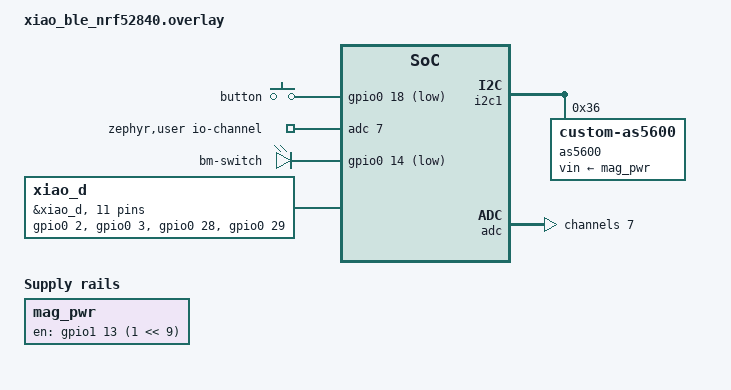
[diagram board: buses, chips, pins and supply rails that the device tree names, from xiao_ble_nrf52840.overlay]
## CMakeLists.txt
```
#
# Copyright (c) 2019 Nordic Semiconductor ASA
#
# SPDX-License-Identifier: LicenseRef-Nordic-5-Clause
#
cmake_minimum_required(VERSION 3.20.0)

list(APPEND EXTRA_ZEPHYR_MODULES 
    ${CMAKE_CURRENT_SOURCE_DIR}/modules
) 

find_package(Zephyr REQUIRED HINTS $ENV{ZEPHYR_BASE})
project(scroll)


FILE(GLOB app_sources src/*.c)
target_include_directories(app PRIVATE inc)
# NORDIC SDK APP START
target_sources(app PRIVATE ${app_sources})
# NORDIC SDK APP END
```

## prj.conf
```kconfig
#
# Copyright (c) 2019 Nordic Semiconductor ASA
#
# SPDX-License-Identifier: LicenseRef-Nordic-5-Clause
#
CONFIG_NCS_SAMPLES_DEFAULTS=y

CONFIG_BT=y
#CONFIG_BT_MAX_CONN=1
#CONFIG_BT_MAX_PAIRED=2
CONFIG_BT_ATT_TX_COUNT=5
CONFIG_BT_PERIPHERAL=y
CONFIG_BT_DEVICE_NAME="BLE Scroll Wheel"
CONFIG_BT_DEVICE_APPEARANCE=962

CONFIG_BT_BAS=y
CONFIG_BT_HIDS=y
CONFIG_BT_HIDS_DEFAULT_PERM_RW_ENCRYPT=y
CONFIG_BT_GATT_UUID16_POOL_SIZE=40
CONFIG_BT_GATT_CHRC_POOL_SIZE=20

CONFIG_BT_CONN_CTX=y

CONFIG_BT_DIS=y
CONFIG_BT_DIS_PNP=y
CONFIG_BT_DIS_MANUF="KAA"
CONFIG_BT_DIS_PNP_VID_SRC=2
CONFIG_BT_DIS_PNP_VID=0x1915
CONFIG_BT_DIS_PNP_PID=0xEEEE
CONFIG_BT_DIS_PNP_VER=0x0100

CONFIG_MAIN_STACK_SIZE=1536
CONFIG_SYSTEM_WORKQUEUE_STACK_SIZE=2048

CONFIG_DK_LIBRARY=y
CONFIG_GPIO_AS_PINRESET=n
CONFIG_SENSOR=y
CONFIG_CUSTOM_AS5600=y
CONFIG_REGULATOR=y

CONFIG_ADC=y
CONFIG_FPU=y
# CONFIG_BT_PERIPHERAL_PREF_MIN_INT=100
# CONFIG_BT_PERIPHERAL_PREF_MAX_INT=120
# CONFIG_BT_PERIPHERAL_PREF_TIMEOUT=200
# CONFIG_BT_PERIPHERAL_PREF_LATENCY=2
```

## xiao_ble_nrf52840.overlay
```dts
// To get started, press Ctrl+Space to bring up the completion menu and view the available nodes.

// You can also use the buttons in the sidebar to perform actions on nodes.
// Actions currently available include:

// * Enabling / disabling the node
// * Adding the bus to a bus
// * Removing the node
// * Connecting ADC channels

// For more help, browse the DeviceTree documentation at https://docs.zephyrproject.org/latest/guides/dts/index.html
// You can also visit the nRF DeviceTree extension documentation at https://docs.nordicsemi.com/bundle/nrf-connect-vscode/page/guides/ncs_configure_app.html#devicetree-support-in-the-extension

/ {
	buttons {
		compatible = "gpio-keys";
		button {
			label = "button";
			gpios = <&gpio0 18 GPIO_ACTIVE_LOW>;
		};
	};

	mag_pwr: mag-pwr-ctrl {
		compatible = "regulator-fixed";
		label = "mag-pwr-ctrl";
		regulator-name = "mag-pwr-ctrl";
		enable-gpios = <&gpio1 13 (1 << 9)>;
		regulator-boot-on;
		startup-delay-us = <1000>;
	};

	zephyr,user {
		io-channels = <&adc 7>;
	};

	gpios {
		compatible = "gpio-leds";
		bmswitch: bm_switch {
			label = "bm-switch";
			gpios = <&gpio0 14 (GPIO_ACTIVE_LOW | GPIO_OPEN_DRAIN)>;
		};
	};
};

&i2c1 {
	as5600@36 {
		compatible = "zephyr,custom-as5600";
		reg = <0x36>;
		status = "okay";
		vin-supply = <&mag_pwr>;
	};
};

&uicr {
	/delete-property/ gpio-as-nreset;
};


&xiao_d {
	gpio-map = <0 0 &gpio0 2 0>,
			   <1 0 &gpio0 3 0>,
			   <2 0 &gpio0 28 0>,
			   <3 0 &gpio0 29 0>,
			   <4 0 &gpio0 4 0>,
			   <5 0 &gpio0 5 0>,
			   <6 0 &gpio1 11 0>,
			   <7 0 &gpio1 12 0>,
			   <8 0 &gpio1 13 0>,
			   <9 0 &gpio1 14 0>,
			   <10 0 &gpio1 15 0>;
};

&adc {
	#io-channel-cells = <1>;
	#address-cells = <1>;
	#size-cells = <0>;
	status = "okay";
	channel@7 {
		reg = <7>;
		zephyr,gain = "ADC_GAIN_1_6";
		zephyr,reference = "ADC_REF_INTERNAL";
		zephyr,acquisition-time = <ADC_ACQ_TIME_DEFAULT>;
		zephyr,input-positive = <NRF_SAADC_AIN7>;
		zephyr,resolution = <12>;
	};
};

&spi2 {
	status = "disabled";
};

&uart0 {
	status = "disabled";
};
```

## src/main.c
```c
#include <zephyr/types.h>
#include <stddef.h>
#include <string.h>
#include <errno.h>
#include <zephyr/sys/printk.h>
#include <zephyr/sys/byteorder.h>
#include <zephyr/kernel.h>
#include <zephyr/drivers/gpio.h>
#include <zephyr/drivers/adc.h>
#include <soc.h>
#include <assert.h>

#include <zephyr/settings/settings.h>

#include <zephyr/bluetooth/bluetooth.h>
#include <zephyr/bluetooth/hci.h>
#include <zephyr/bluetooth/conn.h>
#include <zephyr/bluetooth/uuid.h>
#include <zephyr/bluetooth/gatt.h>

#include <zephyr/bluetooth/services/bas.h>
#include <bluetooth/services/hids.h>
#include <zephyr/bluetooth/services/dis.h>
#include <dk_buttons_and_leds.h>
#include <zephyr/logging/log.h>

#include "pairing.h"
#include "scroll.h"

LOG_MODULE_REGISTER(Scroll, LOG_LEVEL_DBG);

#define BASE_USB_HID_SPEC_VERSION   0x0101

#define INPUT_REP_WHEEL_BTN_LEN 4
#define INPUT_REP_WHEEL_BTN_ID  1
#define INPUT_REP_WHEEL_BTN_INDEX 0
#define WHEEL_BYTE_INDEX 3

#define FEATURE_REP_RES_LEN 1
#define FEATURE_REP_RES_ID 2
#define FEATURE_REP_RES_INDEX 0


/* HIDs queue size. */
#define HIDS_QUEUE_SIZE 50

/* HIDS instance. */
BT_HIDS_DEF(hids_obj,
	    INPUT_REP_WHEEL_BTN_LEN, FEATURE_REP_RES_LEN);

struct k_work hids_work;

K_MSGQ_DEFINE(scroll_queue,
	      sizeof(int8_t),
	      HIDS_QUEUE_SIZE,
	      4);

static const struct adc_dt_spec bat_adc_channel = ADC_DT_SPEC_GET(DT_PATH(zephyr_user));
int16_t bat_adc_buf;
struct adc_sequence sequence = {
	.buffer = &bat_adc_buf,
	/* buffer size in bytes, not number of samples */
	.buffer_size = sizeof(bat_adc_buf),
	//Optional
	//.calibrate = true,
};

static const struct gpio_dt_spec red_led = GPIO_DT_SPEC_GET(DT_ALIAS(led0), gpios);
static const struct gpio_dt_spec green_led = GPIO_DT_SPEC_GET(DT_ALIAS(led1), gpios);
static const struct gpio_dt_spec blue_led = GPIO_DT_SPEC_GET(DT_ALIAS(led2), gpios);
static const struct gpio_dt_spec bm_switch = GPIO_DT_SPEC_GET(DT_PATH(gpios, bm_switch), gpios);

bool bt_connected = false;

static void hids_pm_evt_handler(enum bt_hids_pm_evt evt, struct bt_conn *conn)
{
	char addr[BT_ADDR_LE_STR_LEN];
	size_t i;

	for (i = 0; i < CONFIG_BT_HIDS_MAX_CLIENT_COUNT; i++) {
		if (conn_mode[i].conn == conn) {
			break;
		}
	}

	if (i >= CONFIG_BT_HIDS_MAX_CLIENT_COUNT) {
		return;
	}

	bt_addr_le_to_str(bt_conn_get_dst(conn), addr, sizeof(addr));

	switch (evt) {
	case BT_HIDS_PM_EVT_BOOT_MODE_ENTERED:
		printk("Boot mode entered %s\n", addr);
		conn_mode[i].in_boot_mode = true;
		break;

	case BT_HIDS_PM_EVT_REPORT_MODE_ENTERED:
		printk("Report mode entered %s\n", addr);
		conn_mode[i].in_boot_mode = false;
		break;

	default:
		break;
	}
}

static void hid_feature_report_handler(struct bt_hids_rep *rep, struct bt_conn *conn, bool write)
{
	char addr[BT_ADDR_LE_STR_LEN];

	bt_addr_le_to_str(bt_conn_get_dst(conn), addr, sizeof(addr));
	if (write) {
		/* Host is reading the feature report - send current multiplier */
		rep->data[0] = 1;//scroll_resolution_multiplier;
		printk("HID Feature Report read by %s, sending multiplier: 1\n", addr);
	} else {
		/* Host is writing the feature report - update multiplier */
		//scroll_resolution_multiplier = rep->data[0];
		printk("HID Feature Report written by %s, multiplier set to ON\n", addr);
		hirez_enabled = true;
	}
}

static void hid_init(void)
{
	int err;
	struct bt_hids_init_param hids_init_param = { 0 };
	struct bt_hids_inp_rep *hids_inp_rep;
	
	static const uint8_t report_map[] = {
		0x05, 0x01,        // Usage Page (Generic Desktop Ctrls)
		0x09, 0x02,        // Usage (Mouse)
		0xA1, 0x01,        // Collection (Application)
		0x85, 0x01,        //   Report ID (1)
		0x09, 0x01,        //   Usage (Pointer)
		0xA1, 0x00,        //   Collection (Physical)
		// Buttons
		0x05, 0x09,        //     Usage Page (Button)
		0x19, 0x01,        //     Usage Minimum (0x01)
		0x29, 0x03,        //     Usage Maximum (0x03)
		0x95, 0x03,        //     Report Count (3)
		0x75, 0x01,        //     Report Size (1)
		0x15, 0x00,        //     Logical Minimum (0)
		0x25, 0x01,        //     Logical Maximum (1)
		0x81, 0x02,        //     Input (Data,Var,Abs,No Wrap,Linear,Preferred State,No Null Position)
		// Padding
		0x75, 0x05,        //     Report Size (5)
		0x95, 0x01,        //     Report Count (1)
		0x81, 0x01,        //     Input (Const,Array,Abs,No Wrap,Linear,Preferred State,No Null Position)
		// X and Y axis
		0x05, 0x01,        //     Usage Page (Generic Desktop Ctrls)
		0x09, 0x30,        //     Usage (X)
		0x09, 0x31,        //     Usage (Y)
		0x95, 0x02,        //     Report Count (2)
		0x75, 0x08,        //     Report Size (8)
		0x15, 0x81,        //     Logical Minimum (-127)
		0x25, 0x7F,        //     Logical Maximum (127)
		0x81, 0x06,        //     Input (Data,Var,Rel,No Wrap,Linear,Preferred State,No Null Position)
		// Wheel
		0xA1, 0x02,        //     Collection (Logical)
		// Resolution Multiplier Feature Report
		0x85, 0x02,        //       Report ID (2)
		0x09, 0x48,        //       Usage (0x48)
		0x95, 0x01,        //       Report Count (1)
		0x75, 0x08,        //       Report Size (8)
		0x15, 0x00,        //       Logical Minimum (0)
		0x25, 0x01,        //       Logical Maximum (1)
		0x35, 0x01,        //       Physical Minimum (1)
		0x45, 0x10,        //       Physical Maximum (16) <-------
		0xB1, 0x02,        //       Feature (Data,Var,Abs,No Wrap,Linear,Preferred State,No Null Position,Non-volatile)
		// Wheel
		0x85, 0x01,        //       Report ID (1)
		0x09, 0x38,        //       Usage (Wheel)
		0x35, 0x00,        //       Physical Minimum (0)
		0x45, 0x00,        //       Physical Maximum (0)
		0x15, 0x81,        //       Logical Minimum (-127)
		0x25, 0x7F,        //       Logical Maximum (127)
		0x75, 0x08,        //       Report Size (8)
		0x81, 0x06,        //       Input (Data,Var,Rel,No Wrap,Linear,Preferred State,No Null Position)
		0xC0,              //     End Collection
		0xC0,              //   End Collection
		0xC0,              // End Collection
	};

	
	hids_init_param.rep_map.data = report_map;
	hids_init_param.rep_map.size = sizeof(report_map);

	hids_init_param.info.bcd_hid = BASE_USB_HID_SPEC_VERSION;
	hids_init_param.info.b_country_code = 0x00;
	hids_init_param.info.flags = (BT_HIDS_REMOTE_WAKE | BT_HIDS_NORMALLY_CONNECTABLE);

	hids_inp_rep = &hids_init_param.inp_rep_group_init.reports[0];
	hids_inp_rep->size = INPUT_REP_WHEEL_BTN_LEN;
	hids_inp_rep->id = INPUT_REP_WHEEL_BTN_ID;
	hids_init_param.inp_rep_group_init.cnt++;

/* Setup Feature Report for Resolution Multiplier */
	struct bt_hids_outp_feat_rep *hids_feat_rep;
	hids_feat_rep = &hids_init_param.feat_rep_group_init.reports[0];
	hids_feat_rep->size = FEATURE_REP_RES_LEN;
	hids_feat_rep->id = FEATURE_REP_RES_ID;
	hids_feat_rep->handler = hid_feature_report_handler;
	hids_init_param.feat_rep_group_init.cnt++;

	hids_init_param.is_mouse = true;
	hids_init_param.pm_evt_handler = hids_pm_evt_handler;

	err = bt_hids_init(&hids_obj, &hids_init_param);
	__ASSERT(err == 0, "HIDS initialization failed\n");
}

static void mouse_scroll_send(int8_t scroll_delta)
{
	//printk("Sending scroll delta: %d\n", scroll_delta);
	for (size_t i = 0; i < CONFIG_BT_HIDS_MAX_CLIENT_COUNT; i++) {
		if (!conn_mode[i].conn) {
			continue;
		}

		if (!conn_mode[i].in_boot_mode) {
			uint8_t buffer[INPUT_REP_WHEEL_BTN_LEN] = {0};
			buffer[WHEEL_BYTE_INDEX] = scroll_delta;

			bt_hids_inp_rep_send(&hids_obj, conn_mode[i].conn,
						  INPUT_REP_WHEEL_BTN_INDEX,
						  buffer, sizeof(buffer), NULL);
		}
	}
}

static void mouse_handler(struct k_work *work)
{
	uint8_t scroll_delta;
	while (!k_msgq_get(&scroll_queue, &scroll_delta, K_NO_WAIT)) {
		mouse_scroll_send(scroll_delta);
	}
}

void connected(struct bt_conn *conn, uint8_t err)
{
	char addr[BT_ADDR_LE_STR_LEN];

	is_adv_running = false;

	bt_addr_le_to_str(bt_conn_get_dst(conn), addr, sizeof(addr));

	if (err) {
		if (err == BT_HCI_ERR_ADV_TIMEOUT) {
			printk("Direct advertising to %s timed out\n", addr);
			k_work_submit(&adv_work);
		} else {
			printk("Failed to connect to %s 0x%02x %s\n", addr, err,
			       bt_hci_err_to_str(err));
		}
		return;
	}

	printk("Connected %s\n", addr);

	err = bt_hids_connected(&hids_obj, conn);

	if (err) {
		printk("Failed to notify HID service about connection\n");
		return;
	}

	insert_conn_object(conn);

	bt_connected = true;

	if (is_conn_slot_free()) {
		advertising_start();
	}
}


void disconnected(struct bt_conn *conn, uint8_t reason)
{
	int err;
	char addr[BT_ADDR_LE_STR_LEN];

	bt_addr_le_to_str(bt_conn_get_dst(conn), addr, sizeof(addr));

	printk("Disconnected from %s, reason 0x%02x %s\n", addr, reason, bt_hci_err_to_str(reason));

	err = bt_hids_disconnected(&hids_obj, conn);

	if (err) {
		printk("Failed to notify HID service about disconnection\n");
	}

	for (size_t i = 0; i < CONFIG_BT_HIDS_MAX_CLIENT_COUNT; i++) {
		if (conn_mode[i].conn == conn) {
			conn_mode[i].conn = NULL;
			break;
		}
	}

	hirez_enabled = false;
	bt_connected = false;

	advertising_start();
}

void button_changed(uint32_t button_state, uint32_t has_changed)
{
	uint32_t buttons = button_state & has_changed;
	printk("Button state changed: 0x%08X, changed: 0x%08X\n", button_state, has_changed);

	if (buttons) {
		bt_unpair(BT_ID_DEFAULT, BT_ADDR_LE_ANY);
		printk("Cleared all connections\n");
	}
}

void configure_buttons(void)
{
	int err;

	err = dk_buttons_init(button_changed);
	if (err) {
		printk("Cannot init buttons (err: %d)\n", err);
	}
}



/* Литиевый аккумулятор: таблица зависимости процента заряда от напряжения */
static const struct {
	uint16_t voltage_mv;
	uint8_t percentage;
} battery_voltage_table[] = {
	{4200, 100},
	{4100, 90},
	{4000, 80},
	{3900, 70},
	{3800, 60},
	{3700, 50},
	{3600, 40},
	{3500, 30},
	{3400, 20},
	{3300, 10},
	{3000, 0}
};

/* Преобразование напряжения в милливольтах в процент заряда 
 * с линейной интерполяцией между табличными значениями */
static uint8_t voltage_to_battery_percentage(int32_t voltage_mv)
{
	const uint8_t table_size = ARRAY_SIZE(battery_voltage_table);
	
	/* Если напряжение выше максимального - 100% */
	if (voltage_mv >= battery_voltage_table[0].voltage_mv) {
		return battery_voltage_table[0].percentage;
	}
	
	/* Если напряжение ниже минимального - 0% */
	if (voltage_mv <= battery_voltage_table[table_size - 1].voltage_mv) {
		return battery_voltage_table[table_size - 1].percentage;
	}
	
	/* Линейная интерполяция между табличными значениями */
	for (uint8_t i = 0; i < table_size - 1; i++) {
		if (voltage_mv <= battery_voltage_table[i].voltage_mv && 
		    voltage_mv > battery_voltage_table[i + 1].voltage_mv) {
			
			int32_t v_high = battery_voltage_table[i].voltage_mv;
			int32_t v_low = battery_voltage_table[i + 1].voltage_mv;
			int32_t p_high = battery_voltage_table[i].percentage;
			int32_t p_low = battery_voltage_table[i + 1].percentage;
			
			/* Линейная интерполяция: p = p_low + (v - v_low) * (p_high - p_low) / (v_high - v_low) */
			int32_t percentage = p_low + ((voltage_mv - v_low) * (p_high - p_low)) / (v_high - v_low);
			
			return (uint8_t)percentage;
		}
	}
	
	return 0; /* Не должно произойти */
}

static void bas_notify(void)
{
	static uint8_t battery_level = 100;
	int	err;
	int32_t val_mv = 0;

	// If battery level is below 10%, blink red LED
	if (battery_level < 10) {
		gpio_pin_set_dt(&red_led, 1);
	}
	gpio_pin_set_dt(&bm_switch, 1);
	
	err = adc_read(bat_adc_channel.dev, &sequence);
	if (err < 0) {
		LOG_ERR("Could not read (%d)", err);
		return;
	}

	//LOG_DBG("ADC raw value: %X", bat_adc_buf);

	val_mv = bat_adc_buf;
	err = adc_raw_to_millivolts_dt(&bat_adc_channel, &val_mv);
	val_mv *= 151; // Voltage divider correction factor
	val_mv /= 51;
	/* conversion to mV may not be supported, skip if not */
	if (err < 0) {
	    LOG_ERR(" (value in mV not available)\n");
	} else {
		//LOG_DBG("Battery voltage = %d mV\n", val_mv);
	}

	gpio_pin_set_dt(&red_led, 0);
	gpio_pin_set_dt(&bm_switch, 0);

	battery_level = voltage_to_battery_percentage(val_mv);
	//LOG_INF("Battery level: %d%%\n", battery_level);
	bt_bas_set_battery_level(battery_level);
}

static bool write_word_to_uicr(volatile uint32_t * addr, uint32_t word)
{
    if (*addr == word)
    {
        // Allready set. Nothing more to do.
        return true;
    }
    else
    {
        // Register has default value. Ready to write...
        NRF_NVMC->CONFIG = NVMC_CONFIG_WEN_Wen;
        while (NRF_NVMC->READY == NVMC_READY_READY_Busy){}

        *addr = word;

        NRF_NVMC->CONFIG = NVMC_CONFIG_WEN_Ren;
        while (NRF_NVMC->READY == NVMC_READY_READY_Busy){}

        NVIC_SystemReset();
    }
}

void adc_init(void)
{
	int ret;

	if (!adc_is_ready_dt(&bat_adc_channel)) {
		printk("ADC device not ready\n");
		return;
	}

	ret = adc_channel_setup_dt(&bat_adc_channel);
	if (ret < 0) {
		printk("Failed to setup ADC channel (err %d)\n", ret);
		return;
	}

	int	err = adc_sequence_init_dt(&bat_adc_channel, &sequence);
	if (err < 0) {
		printk("Could not initalize sequnce\n");
		return;
	}
}

void gpio_init(void)
{
	int ret;

	if (!gpio_is_ready_dt(&red_led)) {
		printk("Red LED device not ready\n");
		return;
	}
	ret = gpio_pin_configure_dt(&red_led, GPIO_OUTPUT_INACTIVE);
	if (ret < 0) {
		printk("Failed to configure red LED pin\n");
		return;
	}
	if (!gpio_is_ready_dt(&green_led)) {
		printk("Green LED device not ready\n");
		return;
	}
	ret = gpio_pin_configure_dt(&green_led, GPIO_OUTPUT_ACTIVE);
	if (ret < 0) {
		printk("Failed to configure green LED pin\n");
		return;
	}
	if (!gpio_is_ready_dt(&blue_led)) {
		printk("Blue LED device not ready\n");
		return;
	}
	ret = gpio_pin_configure_dt(&blue_led, GPIO_OUTPUT_INACTIVE);
	if (ret < 0) {
		printk("Failed to configure blue LED pin\n");
		return;
	}
	if (!gpio_is_ready_dt(&bm_switch)) {
		printk("BM Switch device not ready\n");
		return;
	}
	ret = gpio_pin_configure_dt(&bm_switch, GPIO_OUTPUT_INACTIVE);
	if (ret < 0) {
		printk("Failed to configure BM Switch pin\n");
		return;
	}
}

//void (*func)(const struct bt_bond_info *info, void *user_data)
void count_handler(const struct bt_bond_info *info, void *user_data)
{
	int *count = (int *)user_data;
	(*count)++;
}

int bonds_count(void)
{
	int count = 0;
	bt_foreach_bond(BT_ID_DEFAULT, count_handler, &count);
	return count;
}

int main(void)
{
	int err;

	write_word_to_uicr(&NRF_UICR->PSELRESET[0], 0);
	write_word_to_uicr(&NRF_UICR->PSELRESET[1], 0);

	gpio_init();

	printk("Starting Bluetooth Peripheral HIDS mouse example\n");

	if (IS_ENABLED(CONFIG_BT_HIDS_SECURITY_ENABLED)) {
		register_auth_callbacks();
	}

	/* DIS initialized at system boot with SYS_INIT macro. */
	hid_init();

	err = bt_enable(NULL);
	if (err) {
		printk("Bluetooth init failed (err %d)\n", err);
		return 0;
	}

	printk("Bluetooth initialized\n");

	k_work_init(&hids_work, mouse_handler);
	register_pairing_work();

	if (IS_ENABLED(CONFIG_SETTINGS)) {
		settings_load();
	}

	adc_init();

	advertising_start();

	configure_buttons();

	while (1) {
		k_sleep(K_SECONDS(1));

		if (bt_connected) {
			bas_notify();
		}

		if (is_adv_running && bonds_count() == 0) {
			// Flash blue LED to indicate pairing mode
			gpio_pin_set_dt(&blue_led, 1);
			k_sleep(K_MSEC(100));
			gpio_pin_set_dt(&blue_led, 0);
		}
	}
}
```

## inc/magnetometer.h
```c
#ifndef _MAGNETOMETER_H_
#define _MAGNETOMETER_H_



#endif
```

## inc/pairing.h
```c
#ifndef _PAIRING_H_
#define _PAIRING_H_

typedef struct conn_mode {
	struct bt_conn *conn;
	bool in_boot_mode;
} conn_mode_t;

extern struct k_work adv_work;
extern conn_mode_t conn_mode[];
extern volatile bool is_adv_running;

void register_auth_callbacks(void);
void register_pairing_work(void);

void connected(struct bt_conn *conn, uint8_t err);
void disconnected(struct bt_conn *conn, uint8_t reason);

void insert_conn_object(struct bt_conn *conn);
bool is_conn_slot_free(void);
void advertising_start(void);

#endif /* _PAIRING_H_ */
```

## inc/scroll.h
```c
#ifndef _SCROLL_H_
#define _SCROLL_H_

#include <stdint.h>
#include <zephyr/types.h>

/* Scroll resolution multiplier - standard is 120 units per notch */
#define SCROLL_RESOLUTION_MULTIPLIER 16
/* Degrees per notch - adjust for sensitivity (lower = more sensitive) */
#define SCROLL_DEGREES_PER_NOTCH 2.f
/* Hysteresis threshold - minimum accumulated notches before sending scroll event */
#define SCROLL_HYSTERESIS_THRESHOLD 3
/* Inverse scroll direction */
#define SCROLL_INVERSE 1
/* Degrees per notch in normal mode (without multiplier) */
#define SCROLL_DEGREES_PER_TICK_NORMAL 10.0f
/* Degrees per tick adjusted by resolution multiplier */
#define SCROLL_DEGREES_PER_TICK (SCROLL_DEGREES_PER_NOTCH / SCROLL_RESOLUTION_MULTIPLIER)
/* Low power mode timeouts in milliseconds */
#define LPM_TIMEOUT_MS 3000
#define DOZE_TIMEOUT_MS 10000

#define ACTIVE_MODE_PERIOD_MS 15
#define LPM_MODE_PERIOD_MS 50
#define DOZE_MODE_PERIOD_MS 5000


extern struct k_msgq scroll_queue;
extern struct k_work hids_work;

extern bool hirez_enabled;
extern bool bt_connected;

#endif /* _SCROLL_H_ */
```

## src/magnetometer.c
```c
#include <stdio.h>
#include <zephyr/kernel.h>
#include <zephyr/device.h>
#include <zephyr/devicetree.h>
#include <zephyr/drivers/sensor.h>
#include <zephyr/drivers/regulator.h>
#include <math.h>

#include "magnetometer.h"
#include "scroll.h"
#include "custom_as5600.h"

#define SENSOR_THREAD_PRIORITY 7
#define SENSOR_THREAD_STACKSIZE 1024

static const struct device *regulator_dev = DEVICE_DT_GET(DT_NODELABEL(mag_pwr));

/* Initialize scroll resolution multiplier with default value */
uint8_t scroll_resolution_multiplier = SCROLL_RESOLUTION_MULTIPLIER;
bool hirez_enabled = false;

static const struct device *get_as5600_sensor(void)
 {
 	const struct device *const dev = DEVICE_DT_GET_ONE(zephyr_custom_as5600);
 	//const struct device *const dev = DT_COMPAT_ams_as5600_BUS_i2c;
 
 	if (dev == NULL) {
 		/* No such node, or the node does not have status "okay". */
 		printk("\nError: no device found.\n");
 		return NULL;
 	}

	while (!device_is_ready(dev)) {
		k_sleep(K_MSEC(10));	
		printk("\nError: Device \"%s\" is not ready; "
 		       "check the driver initialization logs for errors.\n",
 		       dev->name);
	} 
 	printk("Found device \"%s\", getting sensor data\n", dev->name);
 	return dev;
 }

extern const struct init_entry __init_POST_KERNEL_start[];
extern const struct init_entry __init_APPLICATION_start[];

int device_user_init(const struct device* dev) {
    const struct init_entry* entry;
    int rc;

    rc = -1;
    for (entry = __init_POST_KERNEL_start; entry < __init_APPLICATION_start; entry++) {
        if (entry->dev == dev) {
            rc = entry->init_fn.dev(dev);

            /* Mark device initialized.  If initialization
             * failed, record the error condition.
             */
            if (rc != 0) {
                if (rc < 0) {
                    rc = -rc;
                }

                if (rc > UINT8_MAX) {
                    rc = UINT8_MAX;
                }
                dev->state->init_res = rc;
            }
            dev->state->initialized = true;
        }
    }

    return (rc);
}

static int64_t dt(int64_t time_start, int64_t time_end)
{
	return time_end - time_start;
}

enum power_mode {
	ACTIVE_MODE,
	LPM_MODE,
	DOZE_MODE
};

static void set_sensor_defaults(const struct device *sensor_dev)
{
	sensor_attr_set(sensor_dev, SENSOR_CHAN_ROTATION, AS5600_POWER_MODE, &(struct sensor_value){.val1 = AS5600_POWER_MODE_LPM1, .val2 = 0}); // Set initial power mode to LPM1
	sensor_attr_set(sensor_dev, SENSOR_CHAN_ROTATION, AS5600_HYSTERESIS, &(struct sensor_value){.val1 = AS5600_HYSTERESIS_2LSB, .val2 = 0}); // Set hysteresis to reduce jitter
}

int sensor_data_collector(void)
{
	struct sensor_value rotation;
	static float prev_rotation_angle = 500;
	static float scroll_accumulator = 0; /* Accumulator for fractional scroll units */
	static bool prev_neg = false;
	static int64_t last_time = 0;
	static enum power_mode current_power_mode = ACTIVE_MODE;
	const struct device *sensor_dev = get_as5600_sensor();
	k_timeout_t sleep_timeout = K_MSEC(ACTIVE_MODE_PERIOD_MS);

	if (sensor_dev == NULL) {
		return -1;
	}

	set_sensor_defaults(sensor_dev);

    while (1) {
		k_sleep(sleep_timeout); // 15ms delay ~66Hz sampling

		if (bt_connected) {
			if (regulator_is_enabled(regulator_dev) == false) {
				regulator_enable(regulator_dev);
				printk("Magnetometer power enabled\n");
				k_sleep(K_MSEC(15)); // Wait for sensor to power up
				set_sensor_defaults(sensor_dev); // Re-initialize sensor after power-up
				sensor_sample_fetch(sensor_dev); // Discard first sample after power-up
			}
		} else {
			if (regulator_is_enabled(regulator_dev) == true) {
				regulator_disable(regulator_dev);
				printk("Magnetometer power disabled\n");
			}
			k_sleep(K_MSEC(300));
			continue;
		}
		
		
		int ret = sensor_sample_fetch(sensor_dev);
		if (ret != 0) {
			printk("sensor_sample_fetch failed: %d\n", ret);
			continue;	
		}
		ret = sensor_channel_get(sensor_dev, SENSOR_CHAN_ROTATION, &rotation);
		if (ret != 0) {
			printk("sensor_channel_get ROTATION failed: %d\n", ret);
			continue;
		}
		
		printk("\rRotation: %d.%06d degrees", rotation.val1, rotation.val2);

		float current_angle;
		float angle_delta;
		int8_t scroll_delta;
		
		/* Convert sensor_value rotation (degrees) to integer angle */
		current_angle = rotation.val1 + (rotation.val2 / 1000000.0f);
		//if (current_angle > 360.f) continue;
		/* Calculate delta with wraparound handling (0-360 degrees) */
		if (prev_rotation_angle > 360) prev_rotation_angle = current_angle;
		angle_delta = current_angle - prev_rotation_angle;
		
		/* Handle wraparound at 0/360 degree boundary */
		if (angle_delta > 180.f) {
			angle_delta -= 360.f;
		} else if (angle_delta < -180.f) {
			angle_delta += 360.f;
		}
		// if (current_power_mode == DOZE_MODE) {
		// 	printf("Current angle: %f, Previous angle: %f, Angle delta: %f\n", current_angle, prev_rotation_angle, angle_delta);
		// }
		/* Update previous angle */
		prev_rotation_angle = current_angle;
		
		scroll_accumulator += angle_delta;
		
		/* Convert accumulated units to integer scroll steps */
		if (hirez_enabled) {
			scroll_delta = (int8_t)(scroll_accumulator / SCROLL_DEGREES_PER_TICK);
		} else {
			scroll_delta = (int8_t)(scroll_accumulator / SCROLL_DEGREES_PER_TICK_NORMAL);
		}
		/* Apply hysteresis to avoid small jittery scrolls */		
		if (scroll_delta > 0 && prev_neg && scroll_delta < SCROLL_HYSTERESIS_THRESHOLD) continue;
		if (scroll_delta < 0 && !prev_neg && scroll_delta > -SCROLL_HYSTERESIS_THRESHOLD) continue;
		prev_neg = (scroll_delta < 0);

		/* Send scroll events if we have full steps */
		if (scroll_delta != 0) {
			/* Subtract sent units from accumulator, keeping remainder */
			scroll_accumulator -= (scroll_delta * SCROLL_DEGREES_PER_TICK);

			//printk("Scroll delta: %d\n", scroll_delta);
			
			#if SCROLL_INVERSE
			scroll_delta = -scroll_delta;
			#endif
			k_msgq_put(&scroll_queue, &scroll_delta, K_NO_WAIT);

			if (k_msgq_num_used_get(&scroll_queue) == 1) {
				k_work_submit(&hids_work);
			}
			last_time = k_uptime_get();
		}

		/* Power mode management based on inactivity time */
		int64_t current_time = k_uptime_get();
		int64_t inactive_time = dt(last_time, current_time);
		if (inactive_time >= DOZE_TIMEOUT_MS && current_power_mode != DOZE_MODE) {
			current_power_mode = DOZE_MODE;
			printk("Switching to DOZE mode\n");
			regulator_disable(regulator_dev); // Power down sensor in DOZE mode, will be re-enabled on next loop
			sleep_timeout = K_MSEC(DOZE_MODE_PERIOD_MS); // Reduce sampling rate in DOZE mode
		} else if (inactive_time >= LPM_TIMEOUT_MS && current_power_mode != LPM_MODE) {
			current_power_mode = LPM_MODE;
			printk("Switching to LPM mode\n");
			sensor_attr_set(sensor_dev, SENSOR_CHAN_ROTATION, AS5600_POWER_MODE, &(struct sensor_value){.val1 = AS5600_POWER_MODE_LPM2, .val2 = 0}); // Set low power mode
			sleep_timeout = K_MSEC(LPM_MODE_PERIOD_MS); // Reduce sampling rate in LPM mode
		} else if (inactive_time < LPM_TIMEOUT_MS && current_power_mode != ACTIVE_MODE) {
			current_power_mode = ACTIVE_MODE;
			printk("Switching to ACTIVE mode\n");
			sensor_attr_set(sensor_dev, SENSOR_CHAN_ROTATION, AS5600_POWER_MODE, &(struct sensor_value){.val1 = AS5600_POWER_MODE_LPM1, .val2 = 0}); // Set active mode. LPM1 is default (sufficiently fast)
			sleep_timeout = K_MSEC(ACTIVE_MODE_PERIOD_MS); // Restore normal sampling rate
		}
    }
}

K_THREAD_DEFINE(sensor_data_collector_id, SENSOR_THREAD_STACKSIZE, sensor_data_collector, NULL, NULL, NULL, SENSOR_THREAD_PRIORITY, 0, 1000);
```

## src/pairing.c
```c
#include <zephyr/types.h>
#include <stddef.h>
#include <string.h>
#include <errno.h>
#include <zephyr/sys/printk.h>
#include <zephyr/sys/byteorder.h>
#include <zephyr/kernel.h>
#include <zephyr/drivers/gpio.h>
#include <soc.h>
#include <assert.h>

#include <zephyr/settings/settings.h>

#include <zephyr/bluetooth/bluetooth.h>
#include <zephyr/bluetooth/hci.h>
#include <zephyr/bluetooth/conn.h>
#include <zephyr/bluetooth/uuid.h>
#include <zephyr/bluetooth/gatt.h>

#include <zephyr/bluetooth/services/bas.h>
#include <bluetooth/services/hids.h>
#include <zephyr/bluetooth/services/dis.h>
#include <dk_buttons_and_leds.h>

#include "pairing.h"


#define DEVICE_NAME     CONFIG_BT_DEVICE_NAME
#define DEVICE_NAME_LEN (sizeof(DEVICE_NAME) - 1)

#if CONFIG_BT_DIRECTED_ADVERTISING
/* Bonded address queue. */
K_MSGQ_DEFINE(bonds_queue,
	      sizeof(bt_addr_le_t),
	      CONFIG_BT_MAX_PAIRED,
	      4);
#endif


static const struct bt_data ad[] = {
	BT_DATA_BYTES(BT_DATA_GAP_APPEARANCE,
		      (CONFIG_BT_DEVICE_APPEARANCE >> 0) & 0xff,
		      (CONFIG_BT_DEVICE_APPEARANCE >> 8) & 0xff),
	BT_DATA_BYTES(BT_DATA_FLAGS, (BT_LE_AD_GENERAL | BT_LE_AD_NO_BREDR)),
	BT_DATA_BYTES(BT_DATA_UUID16_ALL, BT_UUID_16_ENCODE(BT_UUID_HIDS_VAL),
					  BT_UUID_16_ENCODE(BT_UUID_BAS_VAL)),
};

static const struct bt_data sd[] = {
	BT_DATA(BT_DATA_NAME_COMPLETE, DEVICE_NAME, DEVICE_NAME_LEN),
};

conn_mode_t conn_mode[CONFIG_BT_HIDS_MAX_CLIENT_COUNT];

volatile bool is_adv_running;

struct k_work adv_work;

static struct k_work pairing_work;
struct pairing_data_mitm {
	struct bt_conn *conn;
	unsigned int passkey;
};

K_MSGQ_DEFINE(mitm_queue,
	      sizeof(struct pairing_data_mitm),
	      CONFIG_BT_HIDS_MAX_CLIENT_COUNT,
	      4);

static void num_comp_reply(bool accept);

#if CONFIG_BT_DIRECTED_ADVERTISING
static void bond_find(const struct bt_bond_info *info, void *user_data)
{
	int err;

	/* Filter already connected peers. */
	for (size_t i = 0; i < CONFIG_BT_HIDS_MAX_CLIENT_COUNT; i++) {
		if (conn_mode[i].conn) {
			const bt_addr_le_t *dst =
				bt_conn_get_dst(conn_mode[i].conn);

			if (!bt_addr_le_cmp(&info->addr, dst)) {
				return;
			}
		}
	}

	err = k_msgq_put(&bonds_queue, (void *) &info->addr, K_NO_WAIT);
	if (err) {
		printk("No space in the queue for the bond.\n");
	}
}
#endif

static void advertising_continue(void)
{
	struct bt_le_adv_param adv_param;

#if CONFIG_BT_DIRECTED_ADVERTISING
	bt_addr_le_t addr;

	if (!k_msgq_get(&bonds_queue, &addr, K_NO_WAIT)) {
		char addr_buf[BT_ADDR_LE_STR_LEN];
		int err;

		if (is_adv_running) {
			err = bt_le_adv_stop();
			if (err) {
				printk("Advertising failed to stop (err %d)\n", err);
				return;
			}
			is_adv_running = false;
		}

		adv_param = *BT_LE_ADV_CONN_DIR(&addr);
		adv_param.options |= BT_LE_ADV_OPT_DIR_ADDR_RPA;

		err = bt_le_adv_start(&adv_param, NULL, 0, NULL, 0);

		if (err) {
			printk("Directed advertising failed to start (err %d)\n", err);
			return;
		}

		bt_addr_le_to_str(&addr, addr_buf, BT_ADDR_LE_STR_LEN);
		printk("Direct advertising to %s started\n", addr_buf);
	} else
#endif
	{
		int err;

		if (is_adv_running) {
			return;
		}

		adv_param = *BT_LE_ADV_CONN;
		adv_param.options |= BT_LE_ADV_OPT_ONE_TIME;
		err = bt_le_adv_start(&adv_param, ad, ARRAY_SIZE(ad),
				  sd, ARRAY_SIZE(sd));
		if (err) {
			printk("Advertising failed to start (err %d)\n", err);
			return;
		}

		printk("Regular advertising started\n");
	}

	is_adv_running = true;
}

void advertising_start(void)
{
#if CONFIG_BT_DIRECTED_ADVERTISING
	k_msgq_purge(&bonds_queue);
	bt_foreach_bond(BT_ID_DEFAULT, bond_find, NULL);
#endif

	k_work_submit(&adv_work);
}

static void advertising_process(struct k_work *work)
{
	advertising_continue();
}

static void pairing_process(struct k_work *work)
{
	// int err;
	// struct pairing_data_mitm pairing_data;

	// char addr[BT_ADDR_LE_STR_LEN];

	// err = k_msgq_peek(&mitm_queue, &pairing_data);
	// if (err) {
	// 	return;
	// }

	// bt_addr_le_to_str(bt_conn_get_dst(pairing_data.conn),
	// 		  addr, sizeof(addr));

	// printk("Passkey for %s: %06u\n", addr, pairing_data.passkey);

	// if (IS_ENABLED(CONFIG_SOC_SERIES_NRF54HX) || IS_ENABLED(CONFIG_SOC_SERIES_NRF54LX)) {
	// 	printk("Press Button 0 to confirm, Button 1 to reject.\n");
	// } else {
	// 	printk("Press Button 1 to confirm, Button 2 to reject.\n");
	// }
	num_comp_reply(true);
}


void insert_conn_object(struct bt_conn *conn)
{
	for (size_t i = 0; i < CONFIG_BT_HIDS_MAX_CLIENT_COUNT; i++) {
		if (!conn_mode[i].conn) {
			conn_mode[i].conn = conn;
			conn_mode[i].in_boot_mode = false;

			return;
		}
	}

	printk("Connection object could not be inserted %p\n", conn);
}


bool is_conn_slot_free(void)
{
	for (size_t i = 0; i < CONFIG_BT_HIDS_MAX_CLIENT_COUNT; i++) {
		if (!conn_mode[i].conn) {
			return true;
		}
	}

	return false;
}


#ifdef CONFIG_BT_HIDS_SECURITY_ENABLED
static void security_changed(struct bt_conn *conn, bt_security_t level,
			     enum bt_security_err err)
{
	char addr[BT_ADDR_LE_STR_LEN];

	bt_addr_le_to_str(bt_conn_get_dst(conn), addr, sizeof(addr));

	if (!err) {
		printk("Security changed: %s level %u\n", addr, level);
	} else {
		printk("Security failed: %s level %u err %d %s\n", addr, level, err,
		       bt_security_err_to_str(err));
	}
}
#endif

BT_CONN_CB_DEFINE(conn_callbacks) = {
	.connected = connected,
	.disconnected = disconnected,
#ifdef CONFIG_BT_HIDS_SECURITY_ENABLED
	.security_changed = security_changed,
#endif
};


#if defined(CONFIG_BT_HIDS_SECURITY_ENABLED)
static void auth_passkey_display(struct bt_conn *conn, unsigned int passkey)
{
	char addr[BT_ADDR_LE_STR_LEN];

	bt_addr_le_to_str(bt_conn_get_dst(conn), addr, sizeof(addr));

	printk("Passkey for %s: %06u\n", addr, passkey);
}


static void auth_passkey_confirm(struct bt_conn *conn, unsigned int passkey)
{
	int err;

	struct pairing_data_mitm pairing_data;

	pairing_data.conn    = bt_conn_ref(conn);
	pairing_data.passkey = passkey;

	err = k_msgq_put(&mitm_queue, &pairing_data, K_NO_WAIT);
	if (err) {
		printk("Pairing queue is full. Purge previous data.\n");
	}

	/* In the case of multiple pairing requests, trigger
	 * pairing confirmation which needed user interaction only
	 * once to avoid display information about all devices at
	 * the same time. Passkey confirmation for next devices will
	 * be proccess from queue after handling the earlier ones.
	 */
	if (k_msgq_num_used_get(&mitm_queue) == 1) {
		k_work_submit(&pairing_work);
	}
}


static void auth_cancel(struct bt_conn *conn)
{
	char addr[BT_ADDR_LE_STR_LEN];

	bt_addr_le_to_str(bt_conn_get_dst(conn), addr, sizeof(addr));

	printk("Pairing cancelled: %s\n", addr);
}


static void pairing_complete(struct bt_conn *conn, bool bonded)
{
	char addr[BT_ADDR_LE_STR_LEN];

	bt_addr_le_to_str(bt_conn_get_dst(conn), addr, sizeof(addr));

	printk("Pairing completed: %s, bonded: %d\n", addr, bonded);
}


static void pairing_failed(struct bt_conn *conn, enum bt_security_err reason)
{
	char addr[BT_ADDR_LE_STR_LEN];
	struct pairing_data_mitm pairing_data;

	if (k_msgq_peek(&mitm_queue, &pairing_data) != 0) {
		return;
	}

	if (pairing_data.conn == conn) {
		bt_conn_unref(pairing_data.conn);
		k_msgq_get(&mitm_queue, &pairing_data, K_NO_WAIT);
	}

	bt_addr_le_to_str(bt_conn_get_dst(conn), addr, sizeof(addr));

	printk("Pairing failed conn: %s, reason %d %s\n", addr, reason,
	       bt_security_err_to_str(reason));
}

static struct bt_conn_auth_cb conn_auth_callbacks = {
	.passkey_display = auth_passkey_display,
	.passkey_confirm = auth_passkey_confirm,
	.cancel = auth_cancel,
};

static struct bt_conn_auth_info_cb conn_auth_info_callbacks = {
	.pairing_complete = pairing_complete,
	.pairing_failed = pairing_failed
};
#else
static struct bt_conn_auth_cb conn_auth_callbacks;
static struct bt_conn_auth_info_cb conn_auth_info_callbacks;
#endif /* defined(CONFIG_BT_HIDS_SECURITY_ENABLED) */


static void num_comp_reply(bool accept)
{
	struct pairing_data_mitm pairing_data;
	struct bt_conn *conn;

	if (k_msgq_get(&mitm_queue, &pairing_data, K_NO_WAIT) != 0) {
		return;
	}

	conn = pairing_data.conn;

	if (accept) {
		bt_conn_auth_passkey_confirm(conn);
		printk("Numeric Match, conn %p\n", conn);
	} else {
		bt_conn_auth_cancel(conn);
		printk("Numeric Reject, conn %p\n", conn);
	}

	bt_conn_unref(pairing_data.conn);

	if (k_msgq_num_used_get(&mitm_queue)) {
		k_work_submit(&pairing_work);
	}
}

void register_auth_callbacks(void)
{
    int err;
    err = bt_conn_auth_cb_register(&conn_auth_callbacks);
    if (err) {
        printk("Failed to register authorization callbacks.\n");
        return;
    }

    err = bt_conn_auth_info_cb_register(&conn_auth_info_callbacks);
    if (err) {
        printk("Failed to register authorization info callbacks.\n");
        return;
    }
}

void register_pairing_work(void)
{
    k_work_init(&adv_work, advertising_process);
	if (IS_ENABLED(CONFIG_BT_HIDS_SECURITY_ENABLED)) {
		k_work_init(&pairing_work, pairing_process);
	}
}
```
